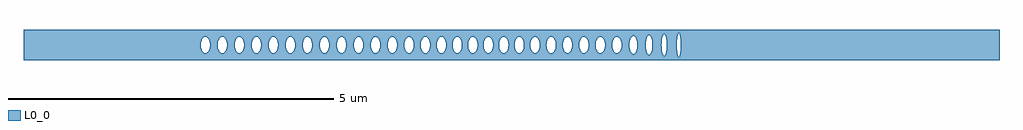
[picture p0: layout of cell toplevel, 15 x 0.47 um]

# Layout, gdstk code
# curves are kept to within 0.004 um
import gdstk
lib = gdstk.Library(unit=1e-6, precision=1e-09)
def P(c, l, *ps):  # polygons
    for p in ps: c.add(gdstk.Polygon(p, *l))
L0_0 = (0, 0)

toplevel = lib.new_cell('toplevel')
P(toplevel, L0_0, [(-4.252,0.032),(-4.235,0.087),(-4.208,0.119),(-4.208,0.234),(-7.5,0.234),(-7.5,-0.016),(-4.777,-0.016),(-4.775,0.032),(-4.764,0.075),(-4.74,0.112),(-4.705,0.128),(-4.678,0.119),(-4.655,0.093),(-4.639,0.054),(-4.633,-0.008),(-4.516,-0.008),(-4.511,0.047),(-4.493,0.093),(-4.47,0.119),(-4.443,0.128),(-4.417,0.119),(-4.397,0.098),(-4.382,0.068),(-4.371,0.008),(-4.376,-0.047),(-4.394,-0.093),(-4.417,-0.119),(-4.443,-0.128),(-4.47,-0.119),(-4.49,-0.098),(-4.505,-0.068),(-4.516,-0.008),(-4.633,-0.008),(-4.639,-0.054),(-4.655,-0.093),(-4.678,-0.119),(-4.705,-0.128),(-4.732,-0.119),(-4.751,-0.098),(-4.764,-0.075),(-4.777,-0.016),(-7.5,-0.016),(-7.5,-0.234),(-4.208,-0.234),(-4.208,-0.119),(-4.228,-0.098),(-4.243,-0.068),(-4.254,-0.016)],
  [(-4.195,0.125),(-4.182,0.128),(-4.155,0.119),(-4.132,0.093),(-4.116,0.054),(-4.11,-0.008),(-3.993,-0.008),(-3.988,0.047),(-3.97,0.093),(-3.955,0.112),(-3.934,0.125),(-3.902,0.123),(-3.881,0.108),(-3.864,0.081),(-3.851,0.039),(-3.848,-0.016),(-3.859,-0.068),(-3.874,-0.098),(-3.894,-0.119),(-3.92,-0.128),(-3.947,-0.119),(-3.97,-0.093),(-3.988,-0.047),(-3.993,-0.008),(-4.11,-0.008),(-4.118,-0.061),(-4.143,-0.108),(-4.155,-0.119),(-4.182,-0.128),(-4.208,-0.119),(-4.208,-0.234),(-3.632,-0.234),(-3.632,-0.119),(-3.659,-0.128),(-3.698,-0.108),(-3.72,-0.068),(-3.731,-0.016),(-3.726,0.047),(-3.698,0.108),(-3.659,0.128),(-3.632,0.119),(-3.632,0.234),(-4.208,0.234),(-4.208,0.119)],
  [(-3.632,0.234),(-3.632,0.119),(-3.6,0.075),(-3.586,0),(-3.47,0),(-3.463,0.054),(-3.447,0.093),(-3.424,0.119),(-3.397,0.128),(-3.371,0.119),(-3.351,0.098),(-3.336,0.068),(-3.325,0.016),(-3.328,-0.039),(-3.341,-0.081),(-3.362,-0.112),(-3.397,-0.128),(-3.424,-0.119),(-3.447,-0.093),(-3.463,-0.054),(-3.47,0),(-3.586,0),(-3.6,-0.075),(-3.632,-0.119),(-3.632,-0.234),(-3.067,-0.234),(-3.067,-0.042),(-3.077,-0.075),(-3.097,-0.108),(-3.122,-0.125),(-3.145,-0.126),(-3.162,-0.119),(-3.185,-0.093),(-3.203,-0.047),(-3.208,-0.008),(-3.206,0.032),(-3.194,0.075),(-3.174,0.108),(-3.149,0.125),(-3.122,0.125),(-3.097,0.108),(-3.077,0.075),(-3.067,0.039),(-3.067,0.234)],
  [(-3.065,-0.032),(-3.067,-0.234),(-2.378,-0.234),(-2.378,-0.119),(-2.41,-0.075),(-2.423,-0.016),(-2.421,0.032),(-2.41,0.075),(-2.378,0.119),(-2.378,0.234),(-3.067,0.234),(-3.064,-0.016),(-2.946,-0.016),(-2.944,0.032),(-2.933,0.075),(-2.909,0.112),(-2.874,0.128),(-2.847,0.119),(-2.824,0.093),(-2.805,0.039),(-2.802,-0.008),(-2.685,-0.008),(-2.68,0.047),(-2.659,0.098),(-2.626,0.125),(-2.612,0.128),(-2.586,0.119),(-2.566,0.098),(-2.551,0.068),(-2.54,-0.008),(-2.545,-0.047),(-2.563,-0.093),(-2.578,-0.112),(-2.599,-0.125),(-2.612,-0.128),(-2.635,-0.121),(-2.659,-0.098),(-2.674,-0.068),(-2.685,-0.008),(-2.802,-0.008),(-2.807,-0.047),(-2.824,-0.093),(-2.847,-0.119),(-2.874,-0.128),(-2.901,-0.119),(-2.924,-0.093),(-2.94,-0.054),(-2.946,-0.016),(-3.064,-0.016)],
  [(-1.901,0.032),(-1.887,0.081),(-1.866,0.112),(-1.831,0.128),(-1.8,0.115),(-1.8,0.234),(-2.378,0.234),(-2.378,0.119),(-2.351,0.128),(-2.337,0.125),(-2.308,0.103),(-2.285,0.054),(-2.279,-0.016),(-2.162,-0.016),(-2.159,0.039),(-2.146,0.081),(-2.117,0.119),(-2.09,0.128),(-2.063,0.119),(-2.04,0.093),(-2.026,0.061),(-2.018,0.016),(-2.02,-0.032),(-2.031,-0.075),(-2.055,-0.112),(-2.09,-0.128),(-2.117,-0.119),(-2.136,-0.098),(-2.151,-0.068),(-2.162,-0.016),(-2.279,-0.016),(-2.292,-0.075),(-2.312,-0.108),(-2.324,-0.119),(-2.351,-0.128),(-2.378,-0.119),(-2.378,-0.234),(-1.8,-0.234),(-1.8,-0.115),(-1.831,-0.128),(-1.857,-0.119),(-1.877,-0.098),(-1.9,-0.039)],
  [(-1.149,0),(-1.148,0.234),(-1.8,0.234),(-1.8,0.115),(-1.781,0.093),(-1.767,0.061),(-1.759,-0.016),(-1.647,-0.016),(-1.645,0.032),(-1.634,0.075),(-1.61,0.112),(-1.575,0.128),(-1.548,0.119),(-1.525,0.093),(-1.509,0.054),(-1.503,-0.008),(-1.396,-0.008),(-1.391,0.047),(-1.373,0.093),(-1.35,0.119),(-1.323,0.128),(-1.297,0.119),(-1.277,0.098),(-1.262,0.068),(-1.251,0.008),(-1.254,-0.039),(-1.274,-0.093),(-1.297,-0.119),(-1.323,-0.128),(-1.35,-0.119),(-1.373,-0.093),(-1.391,-0.047),(-1.396,-0.008),(-1.503,-0.008),(-1.509,-0.054),(-1.525,-0.093),(-1.548,-0.119),(-1.575,-0.128),(-1.602,-0.119),(-1.625,-0.093),(-1.647,-0.016),(-1.759,-0.016),(-1.772,-0.075),(-1.8,-0.115),(-1.8,-0.234),(-1.148,-0.234)],
  [(-1.145,0.039),(-1.135,0.075),(-1.119,0.103),(-1.103,0.119),(-1.076,0.128),(-1.05,0.119),(-1.023,0.087),(-1.007,0.039),(-1.004,0),(-0.906,0),(-0.901,0.047),(-0.883,0.093),(-0.86,0.119),(-0.833,0.128),(-0.807,0.119),(-0.78,0.087),(-0.764,0.039),(-0.761,-0.016),(-0.772,-0.068),(-0.787,-0.098),(-0.807,-0.119),(-0.833,-0.128),(-0.86,-0.119),(-0.883,-0.093),(-0.901,-0.047),(-0.906,0),(-1.004,0),(-1.007,-0.039),(-1.023,-0.087),(-1.05,-0.119),(-1.076,-0.128),(-1.103,-0.119),(-1.126,-0.093),(-1.144,-0.048),(-1.148,-0.019),(-1.148,-0.234),(-0.643,-0.234),(-0.643,-0.093),(-0.661,-0.047),(-0.666,-0.008),(-0.661,0.047),(-0.643,0.093),(-0.643,0.234),(-1.148,0.234)],
  [(-0.19,0.016),(-0.18,0.068),(-0.165,0.098),(-0.145,0.119),(-0.11,0.126),(-0.11,0.234),(-0.643,0.234),(-0.643,0.093),(-0.62,0.119),(-0.603,0.126),(-0.58,0.125),(-0.559,0.112),(-0.532,0.068),(-0.522,0.024),(-0.522,-0.016),(-0.428,-0.016),(-0.425,0.039),(-0.412,0.081),(-0.391,0.112),(-0.356,0.128),(-0.329,0.119),(-0.306,0.093),(-0.29,0.054),(-0.283,0),(-0.297,-0.075),(-0.317,-0.108),(-0.342,-0.125),(-0.369,-0.125),(-0.395,-0.108),(-0.417,-0.068),(-0.428,-0.016),(-0.522,-0.016),(-0.526,-0.047),(-0.544,-0.093),(-0.559,-0.112),(-0.58,-0.125),(-0.594,-0.128),(-0.62,-0.119),(-0.643,-0.093),(-0.643,-0.234),(-0.11,-0.234),(-0.11,-0.126),(-0.145,-0.119),(-0.168,-0.093),(-0.186,-0.047)],
  [(-0.11,0.234),(-0.11,0.126),(-0.092,0.119),(-0.069,0.093),(-0.051,0.047),(-0.046,0),(0.047,0),(0.052,0.047),(0.07,0.093),(0.093,0.119),(0.12,0.128),(0.146,0.119),(0.166,0.098),(0.181,0.068),(0.192,0.016),(0.189,-0.039),(0.176,-0.081),(0.155,-0.112),(0.12,-0.128),(0.093,-0.119),(0.07,-0.093),(0.052,-0.047),(0.047,0),(-0.046,0),(-0.051,-0.047),(-0.069,-0.093),(-0.092,-0.119),(-0.11,-0.126),(-0.11,-0.234),(0.425,-0.234),(0.425,-0.061),(0.412,-0.093),(0.389,-0.119),(0.362,-0.128),(0.348,-0.125),(0.327,-0.112),(0.312,-0.093),(0.296,-0.054),(0.29,-0.016),(0.296,0.054),(0.312,0.093),(0.335,0.119),(0.362,0.128),(0.389,0.119),(0.412,0.093),(0.425,0.061),(0.425,0.234)],
  [(0.432,-0.032),(0.425,-0.061),(0.425,-0.234),(1.07,-0.234),(1.07,-0.103),(1.054,-0.075),(1.041,-0.016),(1.044,0.039),(1.054,0.075),(1.07,0.103),(1.07,0.234),(0.425,0.234),(0.425,0.06),(0.434,-0.008),(0.537,-0.008),(0.542,0.047),(0.56,0.093),(0.583,0.119),(0.609,0.128),(0.636,0.119),(0.659,0.093),(0.677,0.047),(0.682,-0.008),(0.788,-0.008),(0.797,0.061),(0.822,0.108),(0.834,0.119),(0.861,0.128),(0.896,0.112),(0.919,0.075),(0.928,0.047),(0.932,-0.024),(0.91,-0.093),(0.879,-0.123),(0.847,-0.125),(0.814,-0.098),(0.797,-0.061),(0.788,-0.008),(0.682,-0.008),(0.671,-0.068),(0.656,-0.098),(0.636,-0.119),(0.609,-0.128),(0.583,-0.119),(0.563,-0.098),(0.548,-0.068),(0.537,-0.008),(0.434,-0.008)],
  [(1.078,0.112),(1.113,0.128),(1.14,0.119),(1.152,0.108),(1.179,0.054),(1.185,-0.008),(1.293,-0.008),(1.298,0.047),(1.319,0.098),(1.347,0.123),(1.379,0.125),(1.404,0.108),(1.424,0.075),(1.436,0.032),(1.438,-0.008),(1.427,-0.068),(1.412,-0.098),(1.392,-0.119),(1.365,-0.128),(1.339,-0.119),(1.319,-0.098),(1.304,-0.068),(1.293,-0.008),(1.185,-0.008),(1.172,-0.075),(1.14,-0.119),(1.113,-0.128),(1.099,-0.125),(1.07,-0.103),(1.07,-0.234),(1.651,-0.234),(1.651,-0.115),(1.62,-0.128),(1.594,-0.119),(1.582,-0.108),(1.559,-0.068),(1.548,-0.008),(1.559,0.068),(1.582,0.108),(1.594,0.119),(1.62,0.128),(1.651,0.115),(1.651,0.234),(1.07,0.234),(1.07,0.103)],
  [(2.064,0.019),(2.077,0.105),(2.102,0.149),(2.115,0.154),(2.128,0.149),(2.143,0.13),(2.155,0.098),(2.155,0.234),(1.651,0.234),(1.651,0.115),(1.682,0.068),(1.692,0.024),(1.692,-0.018),(1.811,-0.018),(1.815,0.052),(1.825,0.09),(1.843,0.123),(1.865,0.14),(1.889,0.136),(1.91,0.114),(1.928,0.068),(1.935,0.018),(1.931,-0.052),(1.921,-0.09),(1.9,-0.127),(1.881,-0.14),(1.854,-0.134),(1.833,-0.108),(1.815,-0.052),(1.811,-0.018),(1.692,-0.018),(1.682,-0.068),(1.651,-0.115),(1.651,-0.234),(2.155,-0.234),(2.155,-0.098),(2.143,-0.13),(2.128,-0.149),(2.109,-0.153),(2.096,-0.143),(2.071,-0.082)],
  [(2.166,-0.029),(2.155,-0.098),(2.155,-0.234),(7.5,-0.234),(7.5,0.234),(2.155,0.234),(2.155,0.098),(2.164,0.057),(2.167,-0.01),(2.305,-0.01),(2.306,0.042),(2.318,0.122),(2.329,0.151),(2.344,0.167),(2.36,0.159),(2.376,0.122),(2.388,0.042),(2.388,-0.023),(2.54,-0.023),(2.547,0.115),(2.558,0.163),(2.57,0.18),(2.578,0.177),(2.589,0.152),(2.603,0.045),(2.599,-0.096),(2.589,-0.152),(2.574,-0.18),(2.562,-0.171),(2.553,-0.146),(2.54,-0.023),(2.388,-0.023),(2.376,-0.122),(2.365,-0.151),(2.35,-0.167),(2.334,-0.159),(2.32,-0.129),(2.305,-0.01),(2.167,-0.01)])

lib.write_gds('toplevel.gds')
